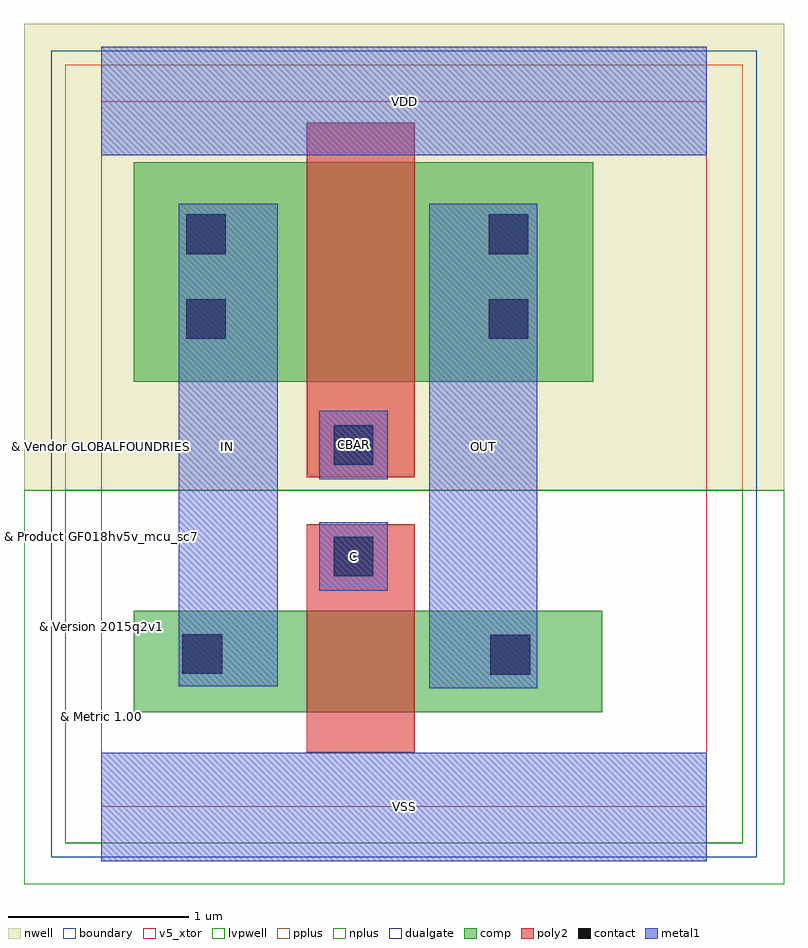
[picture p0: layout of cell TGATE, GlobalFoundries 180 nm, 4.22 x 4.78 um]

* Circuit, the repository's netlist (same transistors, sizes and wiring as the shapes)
* Extracted by KLayout with GF180MCU LVS runset on : 18/10/2026 05:34

.SUBCKT TGATE IN OUT C CBAR SUB
M$1 OUT CBAR IN \$8 pfet_05v0 L=0.6U W=1.22U AS=1.1712P AD=1.2078P PS=4.36U
+ PD=4.42U
M$2 OUT C IN SUB nfet_05v0 L=0.6U W=0.565U AS=0.5424P AD=0.5876P PS=3.05U
+ PD=3.21U
.ENDS TGATE

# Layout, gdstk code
import gdstk
lib = gdstk.Library(unit=1e-6, precision=1e-09)
def R(c, l, rs):  # rectangles x0, y0, x1, y1
    for r in rs: c.add(gdstk.rectangle(r[:2], r[2:], *l))
boundary = (0, 0)
nwell = (21, 0)
comp = (22, 0)
poly2 = (30, 0)
pplus = (31, 0)
nplus = (32, 0)
contact = (33, 0)
metal1 = (34, 0)
dualgate = (55, 0)
v5_xtor = (112, 1)
lvpwell = (204, 0)

tgate = lib.new_cell('TGATE')
R(tgate, boundary, [(0,0,3.36,3.92)])
R(tgate, nwell, [(-0.43,1.76,3.79,4.35)])
R(tgate, comp, [(0.18,0.525,2.78,1.09), (0.18,2.36,2.73,3.58)])
R(tgate, poly2, [(1.14,0.305,1.74,1.57), (1.14,1.83,1.74,3.8)])
R(tgate, pplus, [(-0.2,1.76,3.56,4.12)])
R(tgate, nplus, [(-0.2,-0.2,3.56,1.76)])
R(tgate, contact, [(2.16,0.735,2.38,0.955), (0.45,0.74,0.67,0.96), (1.29,1.28,1.51,1.5), (1.29,1.9,1.51,2.12), (0.47,2.6,0.69,2.82), (2.15,2.6,2.37,2.82), (0.47,3.07,0.69,3.29), (2.15,3.07,2.37,3.29)])
R(tgate, metal1, [(0,-0.3,3.36,0.3), (1.82,0.66,2.42,3.35), (0.43,0.67,0.98,3.35), (1.21,1.2,1.59,1.58), (1.21,1.82,1.59,2.2), (0,3.62,3.36,4.22)])
R(tgate, dualgate, [(-0.28,-0.28,3.64,4.2)])
R(tgate, v5_xtor, [(0,0,3.36,3.92)])
R(tgate, lvpwell, [(-0.43,-0.43,3.79,1.76)])
tgate.add(gdstk.Label('VDD', (1.68,3.92), layer=34, texttype=10))
tgate.add(gdstk.Label('VSS', (1.68,0), layer=34, texttype=10))
tgate.add(gdstk.Label('IN', (0.7,2), layer=34, texttype=10))
tgate.add(gdstk.Label('OUT', (2.12,2), layer=34, texttype=10))
tgate.add(gdstk.Label('C', (1.4,1.39), layer=34, texttype=10))
tgate.add(gdstk.Label('CBAR', (1.4,2.01), layer=34, texttype=10))
tgate.add(gdstk.Label('& Vendor GLOBALFOUNDRIES', (0,2), layer=63, texttype=63))
tgate.add(gdstk.Label('& Product GF018hv5v_mcu_sc7', (0,1.5), layer=63, texttype=63))
tgate.add(gdstk.Label('& Version 2015q2v1', (0,1), layer=63, texttype=63))
tgate.add(gdstk.Label('& Metric 1.00', (0,0.5), layer=63, texttype=63))

lib.write_gds('TGATE.gds')
